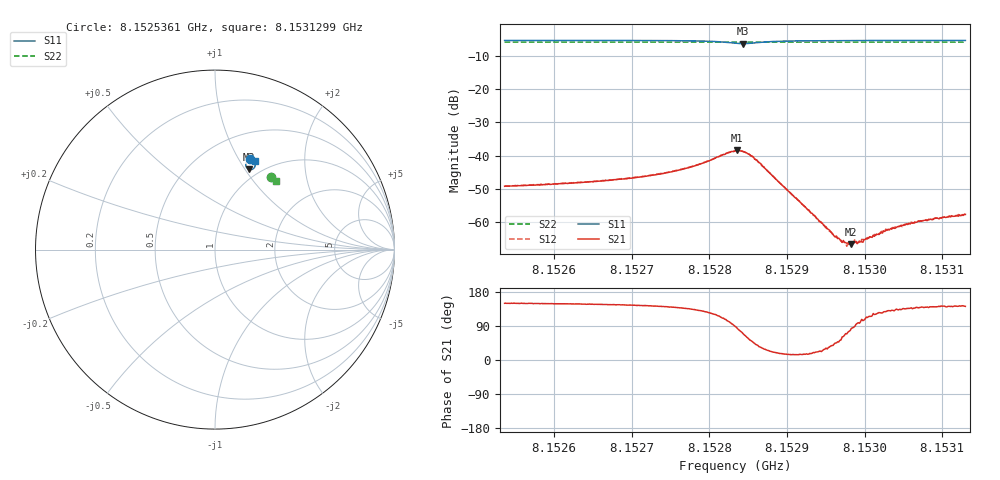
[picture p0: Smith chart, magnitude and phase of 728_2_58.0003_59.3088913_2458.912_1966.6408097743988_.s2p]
#  HZ  S  RI  R  50.00
! Rohde & Schwarz Vector Network Analyzer
! Rohde-Schwarz,ZNB20-2Port,1311601062101988,3.16
! Created: UTC 3/21/2024, 1:22:58 AM
! freq[Hz]  re:S11  im:S11  re:S21  im:S21  re:S12  im:S12  re:S22  im:S22
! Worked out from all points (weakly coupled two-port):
!   401 points, 8.1525361 GHz to 8.1531299 GHz, reference 50 ohm
!   highest |S21| = -38.40 dB at 8.152836 GHz (marker M1); lowest = -66.7 dB at 8.1529829 GHz (marker M2)
!   lowest |S11| = -6.3 dB at 8.1528434 GHz (marker M3), VSWR 2.88, Z = 44.4 + j52 ohm
!   |S11| at or under -10 dB: nowhere
!   |S22| runs from -5.9 to -5.8 dB; largest |S21 - S12| = 0.00044
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8.15253611e9  0.1924 0.5051  -0.00299 0.00175  -0.003 0.00179  0.3126 0.4044
8.15263557e9  0.2013 0.5014  -0.00333 0.00213  -0.00334 0.00218  0.3175 0.4003
8.15269198e9  0.207 0.4983  -0.00371 0.00258  -0.00368 0.00263  0.3204 0.3979
8.15273504e9  0.2128 0.4943  -0.00413 0.00327  -0.00411 0.00335  0.3225 0.3961
8.15278105e9  0.2206 0.4849  -0.0048 0.00514  -0.00473 0.00529  0.3248 0.3936
8.15282262e9  0.2188 0.4559  -0.00264 0.0105  -0.00257 0.0107  0.3263 0.3911
8.15283301e9  0.2063 0.4467  0.000233 0.0118  0.000521 0.0119  0.3261 0.3906
8.15283598e9  0.2011 0.4455  0.00142 0.0119  0.00159 0.0117  0.3261 0.3905
8.1528434e9  0.1874 0.4473  0.00402 0.0109  0.00427 0.0107  0.3259 0.3905
8.1528538e9  0.1741 0.4602  0.00627 0.00768  0.0065 0.00751  0.3261 0.3907
8.15286419e9  0.1715 0.4747  0.00643 0.00448  0.00648 0.00441  0.3266 0.3908
8.15293247e9  0.1966 0.4981  0.00129 0.00042  0.00126 0.000395  0.3311 0.3887
8.15296216e9  0.2024 0.4983  0.000427 0.000423  0.000437 0.00042  0.3327 0.3872
8.1529681e9  0.2035 0.4981  0.00034 0.00043  0.000339 0.000417  0.3332 0.3869
8.15297849e9  0.2049 0.4979  0.000139 0.000467  0.000122 0.000444  0.3335 0.3866
8.15298295e9  0.2057 0.4979  5.4e-05 0.000459  5.6e-05 0.000482  0.3339 0.3864
8.15298592e9  0.2061 0.4978  3e-05 0.000479  1.84e-05 0.000487  0.3337 0.3861
8.15299482e9  0.2073 0.4976  -9.76e-05 0.000496  -0.000107 0.000476  0.3343 0.3857
8.15302451e9  0.211 0.4968  -0.000446 0.000592  -0.000447 0.000613  0.3357 0.3845
8.15303194e9  0.2116 0.4966  -0.000493 0.000583  -0.00047 0.000615  0.336 0.3841
8.15306756e9  0.2152 0.4955  -0.000754 0.000658  -0.000754 0.000709  0.3378 0.3825
8.15312991e9  0.2208 0.4936  -0.00102 0.000812  -0.00105 0.000828  0.3408 0.38
